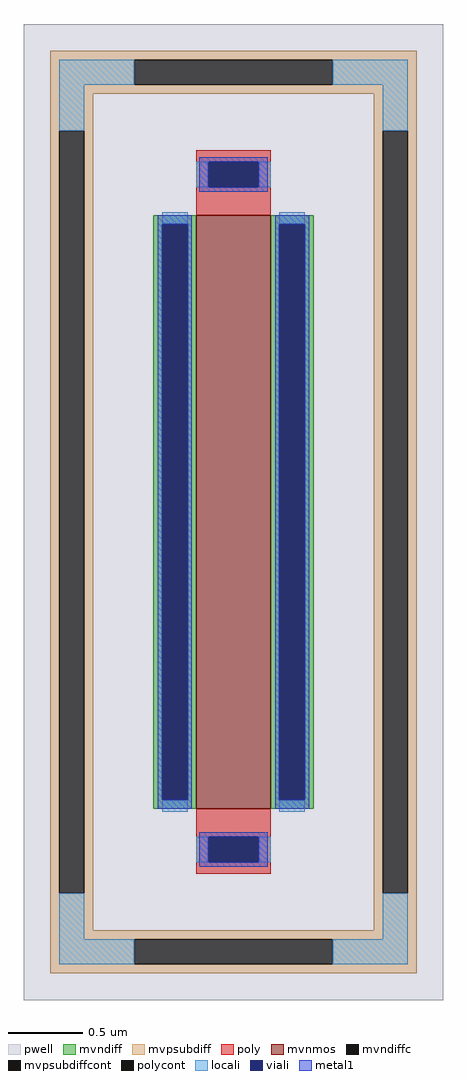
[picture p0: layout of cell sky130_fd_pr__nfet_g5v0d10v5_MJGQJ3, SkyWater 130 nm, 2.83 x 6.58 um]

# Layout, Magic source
magic
tech sky130A
magscale 1 2
<< pwell >>
rect -283 -658 283 658
<< mvnmos >>
rect -50 -400 50 400
<< mvndiff >>
rect -108 388 -50 400
rect -108 -388 -96 388
rect -62 -388 -50 388
rect -108 -400 -50 -388
rect 50 388 108 400
rect 50 -388 62 388
rect 96 -388 108 388
rect 50 -400 108 -388
<< mvndiffc >>
rect -96 -388 -62 388
rect 62 -388 96 388
<< mvpsubdiff >>
rect -247 610 247 622
rect -247 576 -134 610
rect 134 576 247 610
rect -247 564 247 576
rect -247 514 -189 564
rect -247 -514 -235 514
rect -201 -514 -189 514
rect 189 514 247 564
rect -247 -564 -189 -514
rect 189 -514 201 514
rect 235 -514 247 514
rect 189 -564 247 -514
rect -247 -576 247 -564
rect -247 -610 -134 -576
rect 134 -610 247 -576
rect -247 -622 247 -610
<< mvpsubdiffcont >>
rect -134 576 134 610
rect -235 -514 -201 514
rect 201 -514 235 514
rect -134 -610 134 -576
<< poly >>
rect -50 472 50 488
rect -50 438 -34 472
rect 34 438 50 472
rect -50 400 50 438
rect -50 -438 50 -400
rect -50 -472 -34 -438
rect 34 -472 50 -438
rect -50 -488 50 -472
<< polycont >>
rect -34 438 34 472
rect -34 -472 34 -438
<< locali >>
rect -235 576 -134 610
rect 134 576 235 610
rect -235 514 -201 576
rect 201 514 235 576
rect -50 438 -34 472
rect 34 438 50 472
rect -96 388 -62 404
rect -96 -404 -62 -388
rect 62 388 96 404
rect 62 -404 96 -388
rect -50 -472 -34 -438
rect 34 -472 50 -438
rect -235 -576 -201 -514
rect 201 -576 235 -514
rect -235 -610 -134 -576
rect 134 -610 235 -576
<< viali >>
rect -34 438 34 472
rect -96 -388 -62 388
rect 62 -388 96 388
rect -34 -472 34 -438
<< metal1 >>
rect -46 472 46 478
rect -46 438 -34 472
rect 34 438 46 472
rect -46 432 46 438
rect -102 388 -56 400
rect -102 -388 -96 388
rect -62 -388 -56 388
rect -102 -400 -56 -388
rect 56 388 102 400
rect 56 -388 62 388
rect 96 -388 102 388
rect 56 -400 102 -388
rect -46 -438 46 -432
rect -46 -472 -34 -438
rect 34 -472 46 -438
rect -46 -478 46 -472
<< properties >>
string FIXED_BBOX -212 -592 212 592
string gencell sky130_fd_pr__nfet_g5v0d10v5
string library sky130
string parameters w 4.0 l 0.5 m 1 nf 1 diffcov 100 polycov 100 guard 1 glc 1 grc 1 gtc 1 gbc 1 tbcov 100 rlcov 100 topc 1 botc 1 poverlap 0 doverlap 1 lmin 0.50 wmin 0.42 compatible {sky130_fd_pr__nfet_01v8 sky130_fd_pr__nfet_01v8_lvt  sky130_fd_bs_flash__special_sonosfet_star  sky130_fd_pr__nfet_g5v0d10v5 sky130_fd_pr__nfet_05v0_nvt  sky130_fd_pr__nfet_03v3_nvt} full_metal 1 viasrc 100 viadrn 100 viagate 100 viagb 0 viagr 0 viagl 0 viagt 0
<< end >>
